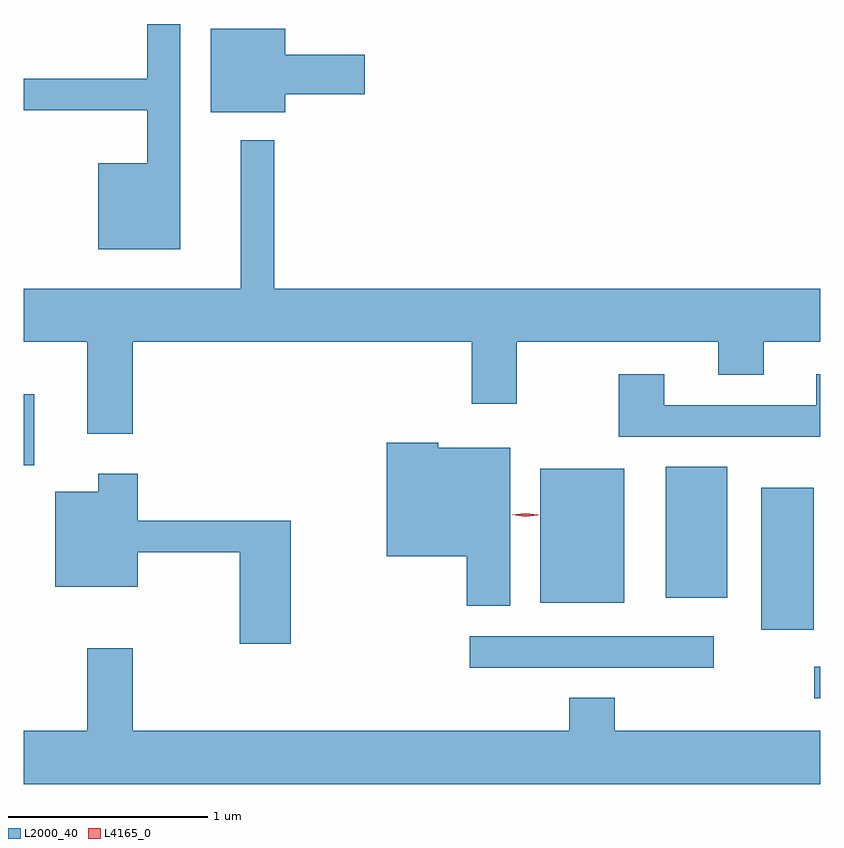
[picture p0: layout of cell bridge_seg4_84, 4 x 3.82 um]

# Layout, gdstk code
import gdstk
lib = gdstk.Library(unit=1e-6, precision=1e-09)
def R(c, l, rs):  # rectangles x0, y0, x1, y1
    for r in rs: c.add(gdstk.rectangle(r[:2], r[2:], *l))
def P(c, l, *ps):  # polygons
    for p in ps: c.add(gdstk.Polygon(p, *l))
L2000_40 = (2000, 40)
L4165_0 = (4165, 0)

bridge_seg4_84 = lib.new_cell('bridge_seg4_84')
R(bridge_seg4_84, L2000_40, [(1120.953,1383.966,1120.982,1384.124), (1119.223,1384.121,1120.448,1384.279), (1120.686,1384.311,1120.949,1385.024), (1119.576,1384.446,1119.999,1385.119), (1120.206,1384.471,1120.514,1385.129), (1116.982,1385.136,1117.034,1385.493)])
P(bridge_seg4_84, L2000_40, [(1117.769,1387.353),(1117.601,1387.353),(1117.601,1387.079),(1116.982,1387.079),(1116.982,1386.921),(1117.601,1386.921),(1117.601,1386.654),(1117.356,1386.654),(1117.356,1386.221),(1117.769,1386.221)],
  [(1118.294,1387.001),(1118.694,1387.001),(1118.694,1387.199),(1118.294,1387.199),(1118.294,1387.329),(1117.921,1387.329),(1117.921,1386.911),(1118.294,1386.911)],
  [(1117.529,1385.756),(1119.231,1385.756),(1119.231,1385.446),(1119.459,1385.446),(1119.459,1385.756),(1120.471,1385.756),(1120.471,1385.591),(1120.699,1385.591),(1120.699,1385.756),(1120.982,1385.756),(1120.982,1386.024),(1118.239,1386.024),(1118.239,1386.768),(1118.071,1386.768),(1118.071,1386.024),(1116.982,1386.024),(1116.982,1385.756),(1117.301,1385.756),(1117.301,1385.296),(1117.529,1385.296)],
  [(1120.982,1385.594),(1120.961,1385.594),(1120.961,1385.439),(1120.199,1385.439),(1120.199,1385.594),(1119.971,1385.594),(1119.971,1385.281),(1120.982,1385.281)],
  [(1119.424,1385.224),(1119.064,1385.224),(1119.064,1385.249),(1118.806,1385.249),(1118.806,1384.681),(1119.206,1384.681),(1119.206,1384.431),(1119.424,1384.431)],
  [(1118.324,1384.859),(1117.554,1384.859),(1117.554,1385.094),(1117.356,1385.094),(1117.356,1385.004),(1117.141,1385.004),(1117.141,1384.526),(1117.554,1384.526),(1117.554,1384.701),(1118.066,1384.701),(1118.066,1384.241),(1118.324,1384.241)],
  [(1120.982,1383.804),(1119.949,1383.804),(1119.949,1383.969),(1119.721,1383.969),(1119.721,1383.804),(1117.529,1383.804),(1117.529,1384.219),(1117.301,1384.219),(1117.301,1383.804),(1116.982,1383.804),(1116.982,1383.536),(1120.982,1383.536)])
P(bridge_seg4_84, L4165_0, [(1119.5,1384.878),(1119.434,1384.888),(1119.434,1384.888),(1119.434,1384.889),(1119.5,1384.897),(1119.566,1384.888),(1119.566,1384.887),(1119.566,1384.886)])

lib.write_gds('bridge_seg4_84.gds')
